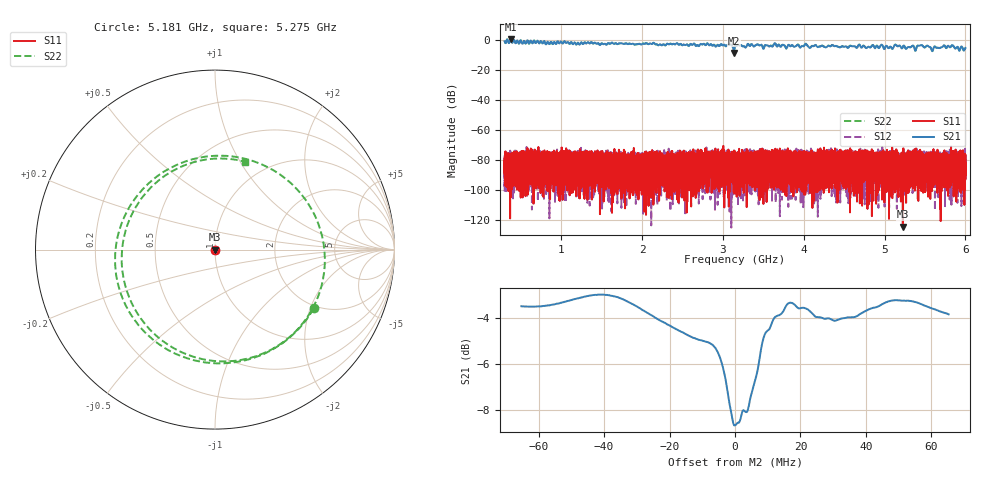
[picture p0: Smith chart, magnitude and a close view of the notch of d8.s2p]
!Agilent Technologies,N5230C,SG49000117,A.08.50.07
!Agilent N5230C: A.08.50.07
!Date: Monday, March 18, 2024 19:00:29
!Correction: S11(Off)
!S21(Off)
!S12(Off)
!S22(Off)
!S2P File: Measurements: S11, S21, S12, S22:
# Hz S  RI  R 50
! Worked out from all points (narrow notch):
!   20001 points, 300 MHz to 6 GHz, reference 50 ohm
!   highest |S21| = 0.46 dB at 373.8 MHz (marker M1); lowest = -8.7 dB at 3.136 GHz (marker M2)
!   notch at M2: 5.2 dB deep, 10.9 MHz wide at half that depth
!   lowest |S11| = -124.1 dB at 5.226 GHz (marker M3), VSWR 1.00, Z = 50 + j4.11e-05 ohm
!   |S11| at or under -10 dB: start of sweep to end of sweep
!   |S22| runs from -8.7 to 0.5 dB; largest |S21 - S12| = 1.1
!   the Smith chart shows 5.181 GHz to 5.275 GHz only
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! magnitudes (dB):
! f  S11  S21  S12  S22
! 300 MHz  -80.3  -1.0  -82.5  -0.9
! 373.8 MHz  -80.1  0.5  -80.3  0.5
! 1.25 GHz  -80.3  -1.7  -78.0  -1.7
! 2.2 GHz  -93.7  -3.7  -74.9  -3.6
! 3.08 GHz  -76.7  -3.4  -83.7  -3.4
! 3.136 GHz  -79.5  -8.7  -78.3  -8.7
! 3.15 GHz  -87.9  -3.8  -84.9  -3.8
! 3.175 GHz  -88.2  -3.7  -93.8  -3.7
! 3.267 GHz  -81.6  -4.4  -89.2  -4.4
! 3.333 GHz  -81.9  -4.1  -81.3  -4.0
! 3.78 GHz  -84.2  -5.5  -83.8  -5.4
! 4.028 GHz  -78.8  -2.7  -80.0  -2.6
! 4.1 GHz  -73.4  -4.1  -80.5  -4.0
! 5.05 GHz  -86.9  -5.5  -76.4  -5.5
! 5.147 GHz  -86.6  -3.7  -79.0  -3.6
! 5.226 GHz  -124.1  -4.7  -82.7  -4.7
! 5.387 GHz  -86.0  -6.8  -82.3  -6.8
! 5.445 GHz  -77.0  -3.6  -87.4  -3.6
! 5.543 GHz  -80.9  -4.3  -77.2  -4.3
! 5.583 GHz  -88.8  -6.9  -77.5  -6.9
! 5.835 GHz  -84.4  -3.6  -80.0  -3.7
! 6 GHz  -82.4  -5.4  -86.4  -5.5
